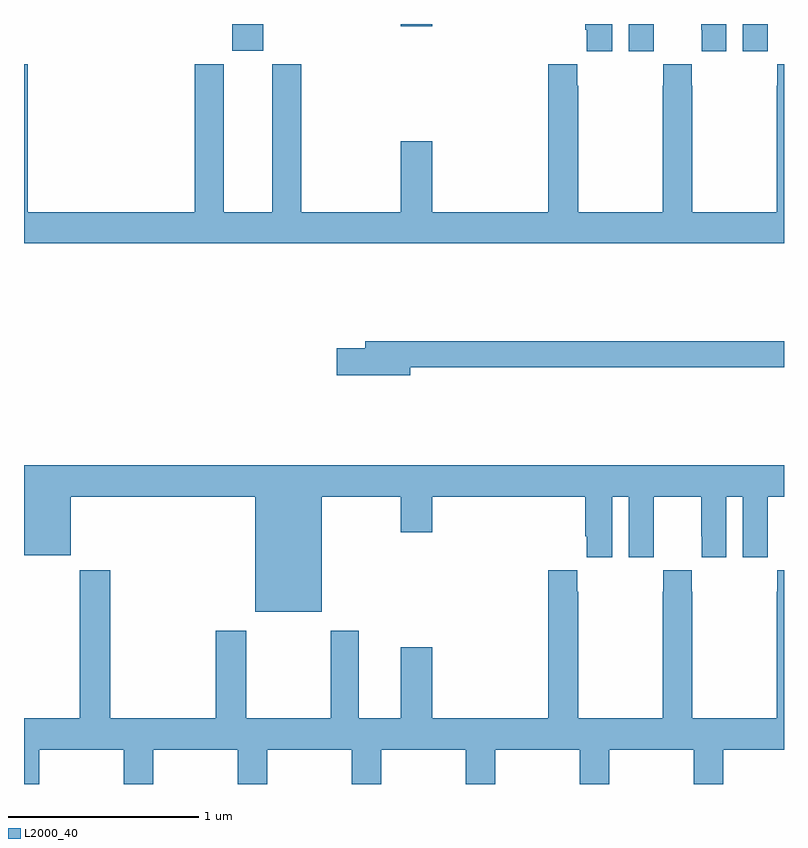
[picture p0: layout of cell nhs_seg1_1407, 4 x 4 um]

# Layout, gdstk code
import gdstk
lib = gdstk.Library(unit=1e-6, precision=1e-09)
def R(c, l, rs):  # rectangles x0, y0, x1, y1
    for r in rs: c.add(gdstk.rectangle(r[:2], r[2:], *l))
def P(c, l, *ps):  # polygons
    for p in ps: c.add(gdstk.Polygon(p, *l))
L2000_40 = (2000, 40)

nhs_seg1_1407 = lib.new_cell('nhs_seg1_1407')
R(nhs_seg1_1407, L2000_40, [(188.096,574.059,188.26,574.199), (188.984,574.188,189.148,574.199)])
P(nhs_seg1_1407, L2000_40, [(190.914,574.168),(190.915,574.168),(190.915,574.199),(190.784,574.199),(190.784,574.056),(190.914,574.056)],
  [(190.696,574.199),(190.565,574.199),(190.565,574.168),(190.566,574.168),(190.566,574.056),(190.696,574.056)],
  [(190.314,574.168),(190.315,574.168),(190.315,574.199),(190.184,574.199),(190.184,574.056),(190.314,574.056)],
  [(190.096,574.199),(189.953,574.199),(189.953,574.168),(189.962,574.168),(189.962,574.056),(190.096,574.056)],
  [(191,573.988),(190.965,573.988),(190.965,573.875),(190.963,573.875),(190.963,573.208),(190.518,573.208),(190.518,573.875),(190.515,573.875),(190.515,573.988),(190.365,573.988),(190.365,573.875),(190.363,573.875),(190.363,573.208),(189.918,573.208),(189.918,573.875),(189.911,573.875),(189.911,573.988),(189.758,573.988),(189.758,573.208),(189.148,573.208),(189.148,573.583),(188.984,573.583),(188.984,573.208),(188.459,573.208),(188.459,573.987),(188.306,573.987),(188.306,573.208),(188.05,573.208),(188.05,573.987),(187.898,573.987),(187.898,573.208),(187.019,573.208),(187.019,573.988),(187,573.988),(187,573.044),(191,573.044)],
  [(189.034,572.392),(191,572.392),(191,572.528),(188.795,572.528),(188.795,572.492),(188.646,572.492),(188.646,572.35),(189.034,572.35)],
  [(188.566,571.712),(188.984,571.712),(188.984,571.524),(189.148,571.524),(189.148,571.712),(189.953,571.712),(189.953,571.504),(189.962,571.504),(189.962,571.392),(190.096,571.392),(190.096,571.712),(190.184,571.712),(190.184,571.392),(190.314,571.392),(190.314,571.504),(190.315,571.504),(190.315,571.712),(190.565,571.712),(190.565,571.504),(190.566,571.504),(190.566,571.392),(190.696,571.392),(190.696,571.712),(190.784,571.712),(190.784,571.392),(190.914,571.392),(190.914,571.504),(190.915,571.504),(190.915,571.712),(191,571.712),(191,571.876),(187,571.876),(187,571.403),(187.246,571.403),(187.246,571.712),(188.216,571.712),(188.216,571.106),(188.566,571.106)],
  [(187.08,570.38),(187.525,570.38),(187.525,570.199),(187.68,570.199),(187.68,570.38),(188.125,570.38),(188.125,570.199),(188.28,570.199),(188.28,570.38),(188.725,570.38),(188.725,570.199),(188.88,570.199),(188.88,570.38),(189.325,570.38),(189.325,570.199),(189.48,570.199),(189.48,570.38),(189.925,570.38),(189.925,570.199),(190.08,570.199),(190.08,570.38),(190.525,570.38),(190.525,570.199),(190.68,570.199),(190.68,570.38),(191,570.38),(191,571.324),(190.965,571.324),(190.965,571.211),(190.963,571.211),(190.963,570.544),(190.518,570.544),(190.518,571.211),(190.515,571.211),(190.515,571.324),(190.365,571.324),(190.365,571.211),(190.363,571.211),(190.363,570.544),(189.918,570.544),(189.918,571.211),(189.911,571.211),(189.911,571.324),(189.758,571.324),(189.758,570.544),(189.148,570.544),(189.148,570.919),(188.984,570.919),(188.984,570.544),(188.761,570.544),(188.761,571.006),(188.614,571.006),(188.614,570.544),(188.169,570.544),(188.169,571.006),(188.009,571.006),(188.009,570.544),(187.454,570.544),(187.454,571.324),(187.294,571.324),(187.294,570.544),(187,570.544),(187,570.199),(187.08,570.199)])

lib.write_gds('nhs_seg1_1407.gds')
